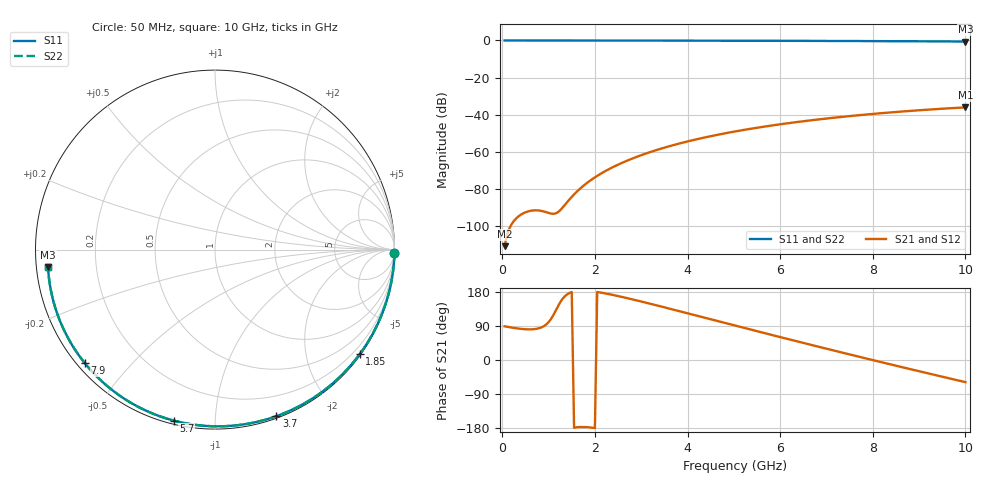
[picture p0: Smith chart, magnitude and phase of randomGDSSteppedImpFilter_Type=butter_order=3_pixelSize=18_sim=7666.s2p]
! freq	dB(S11)	phase(S11)	dB(S12)	phase(S12)
!  dB(S21)	phase(S21)	dB(S22)	phase(S22)
!S-par simulation data
#  GHz  S  DB  R 50
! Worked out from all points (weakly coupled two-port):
!   200 points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, 50 MHz to 10 GHz, reference 50 ohm
!   highest |S21| = -36.06 dB at 10 GHz (marker M1); lowest = -110.9 dB at 50 MHz (marker M2)
!   lowest |S11| = -0.6 dB at 10 GHz (marker M3), VSWR 29.96, Z = 1.67 - j2.64 ohm
!   |S11| at or under -10 dB: nowhere
!   |S22| runs from -0.6 to 0.0 dB; largest |S21 - S12| = 0
!   S11 on the Smith chart (normalised r, x): 50 MHz: open; 1.85 GHz: 0.03, -3.09; 3.7 GHz: 0.02, -1.43; 5.7 GHz: 0.02, -0.79; 7.9 GHz: 0.02, -0.37; 10 GHz: 0.03, -0.05
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0.05  -0.00 -1.0  -110.86 88.9  -110.86 88.9  -0.00 -1.0
0.45  -0.01 -8.9  -93.19 81.6  -93.19 81.6  -0.01 -8.9
0.85  -0.02 -16.7  -91.88 86.3  -91.88 86.3  -0.02 -16.7
1.65  -0.04 -32.1  -80.52 -177.1  -80.52 -177.1  -0.04 -32.1
1.7  -0.04 -33.0  -79.41 -176.8  -79.41 -176.8  -0.04 -33.0
1.75  -0.04 -34.0  -78.35 -176.8  -78.35 -176.8  -0.04 -34.0
1.85  -0.05 -35.9  -76.39 -177.4  -76.39 -177.4  -0.05 -35.9
2.15  -0.05 -41.5  -71.46 177.4  -71.46 177.4  -0.05 -41.5
2.5  -0.06 -48.1  -66.92 168.7  -66.92 168.7  -0.06 -48.1
2.9  -0.07 -55.4  -62.74 157.3  -62.74 157.3  -0.07 -55.4
3.4  -0.09 -64.4  -58.51 142.1  -58.51 142.1  -0.09 -64.4
3.7  -0.09 -69.7  -56.35 132.7  -56.35 132.7  -0.09 -69.7
4.35  -0.12 -81.0  -52.39 112.3  -52.39 112.3  -0.12 -81.0
5.05  -0.14 -92.9  -48.93 90.2  -48.93 90.2  -0.14 -92.9
5.7  -0.17 -103.6  -46.27 69.8  -46.27 69.8  -0.17 -103.6
6.2  -0.20 -111.7  -44.50 54.3  -44.50 54.3  -0.20 -111.7
6.7  -0.24 -119.8  -42.93 38.9  -42.93 38.9  -0.24 -119.8
7.3  -0.28 -129.4  -41.27 20.7  -41.27 20.7  -0.28 -129.4
7.9  -0.33 -139.0  -39.81 2.7  -39.81 2.7  -0.33 -139.0
8.35  -0.38 -146.2  -38.85 -10.6  -38.85 -10.6  -0.38 -146.2
9.2  -0.47 -160.2  -37.27 -35.4  -37.27 -35.4  -0.47 -160.2
10  -0.58 -174.0  -36.06 -58.4  -36.06 -58.4  -0.58 -174.0
